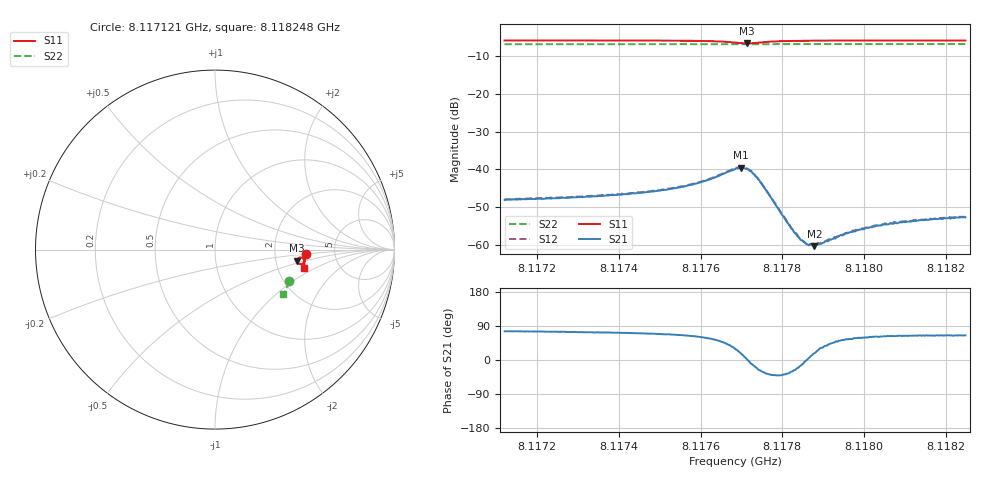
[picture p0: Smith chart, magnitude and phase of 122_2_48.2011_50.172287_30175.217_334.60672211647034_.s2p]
#  HZ  S  RI  R  50.00
! Rohde & Schwarz Vector Network Analyzer
! Rohde-Schwarz,ZNB20-2Port,1311601062101988,3.16
! Created: UTC 3/20/2024, 11:41:33 AM
! freq[Hz]  re:S11  im:S11  re:S21  im:S21  re:S12  im:S12  re:S22  im:S22
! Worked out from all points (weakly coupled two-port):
!   401 points, 8.117121 GHz to 8.118248 GHz, reference 50 ohm
!   highest |S21| = -39.57 dB at 8.117698 GHz (marker M1); lowest = -60.3 dB at 8.117879 GHz (marker M2)
!   lowest |S11| = -6.7 dB at 8.117713 GHz (marker M3), VSWR 2.72, Z = 132 - j20.7 ohm
!   |S11| at or under -10 dB: nowhere
!   |S22| runs from -6.9 to -6.9 dB; largest |S21 - S12| = 0.00042
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8.1171207e9  0.5052 -0.0264  0.000969 0.00381  0.00104 0.00391  0.4146 -0.1775
8.1173096e9  0.5038 -0.0421  0.00123 0.00412  0.00129 0.00418  0.4097 -0.1898
8.1174167e9  0.5021 -0.0517  0.00148 0.00446  0.00156 0.00452  0.4068 -0.1968
8.1174984e9  0.5002 -0.0598  0.00189 0.00485  0.00195 0.0049  0.4044 -0.2022
8.1175548e9  0.4977 -0.0666  0.00243 0.00533  0.00255 0.00541  0.4026 -0.2057
8.117597e9  0.494 -0.0724  0.00323 0.00585  0.00334 0.00592  0.4011 -0.2084
8.1176308e9  0.4886 -0.0779  0.00442 0.00623  0.00457 0.00631  0.4 -0.2107
8.1176844e9  0.4674 -0.0793  0.0087 0.00508  0.00904 0.00507  0.3975 -0.2137
8.1176985e9  0.4604 -0.0726  0.01 0.00323  0.0102 0.00311  0.3968 -0.2142
8.1177126e9  0.4576 -0.0616  0.0101 0.000581  0.0103 0.000393  0.3965 -0.2144
8.1177239e9  0.4605 -0.0526  0.00932 -0.00158  0.00935 -0.00157  0.3964 -0.2147
8.1177436e9  0.472 -0.0444  0.00646 -0.00324  0.00647 -0.00324  0.3965 -0.2157
8.1178169e9  0.4951 -0.0558  0.0015 -0.00104  0.00159 -0.0011  0.395 -0.2208
8.1178422e9  0.497 -0.0606  0.00117 -0.00036  0.00116 -0.000372  0.3943 -0.2226
8.1178535e9  0.4975 -0.0625  0.00109 -0.000115  0.00107 -0.000155  0.394 -0.2233
8.1178619e9  0.4977 -0.0639  0.00102 3.29e-05  0.00106 2.23e-05  0.3936 -0.2239
8.1178732e9  0.4979 -0.0654  0.000962 0.000218  0.000988 0.000203  0.3932 -0.2247
8.1178789e9  0.4981 -0.0662  0.000918 0.000291  0.000945 0.000296  0.3931 -0.225
8.117969e9  0.4983 -0.077  0.000842 0.00121  0.000854 0.00125  0.3902 -0.2307
8.118062e9  0.4973 -0.0857  0.000874 0.0017  0.000883 0.00171  0.3871 -0.2366
8.1181269e9  0.4965 -0.0915  0.000896 0.00186  0.000943 0.00194  0.3849 -0.2405
8.1182481e9  0.4948 -0.1013  0.000981 0.0021  0.00102 0.00212  0.3807 -0.2481
